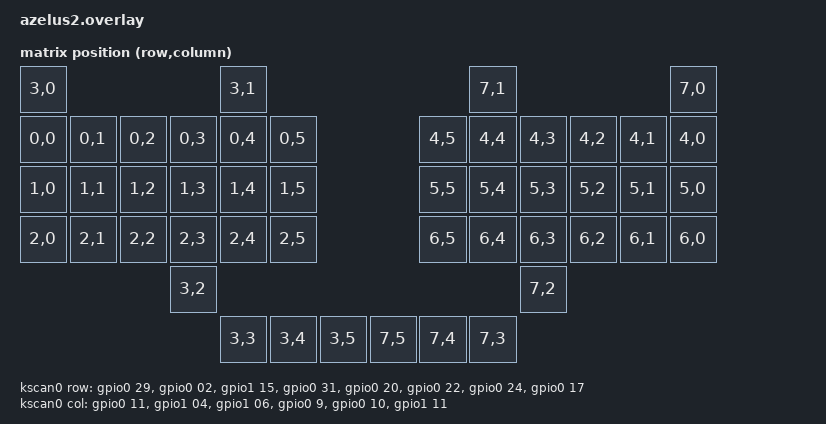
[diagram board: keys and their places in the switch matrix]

#include <dt-bindings/zmk/matrix_transform.h>
#include <physical_layouts.dtsi>

/ {
    chosen {
        zmk,battery = &vbatt;
        zmk,kscan = &kscan0;
        zmk,physical-layout = &physical_layout0;
    };
    
    // "&gpio1 6" means pin P1.06 on the pinout diagram for the nice!nano_v2: https://nicekeyboards.com/docs/nice-nano/pinout-schematic/. 
    // See also  https://zmk.dev/docs/development/new-shield#shield-overlays
    kscan0: kscan {
        compatible = "zmk,kscan-gpio-matrix";
        label = "KSCAN";
                diode-direction = "col2row";
        wakeup-source;
        row-gpios
            // right
            = <&gpio0 29  (GPIO_ACTIVE_HIGH | GPIO_PULL_DOWN)>
            , <&gpio0 02  (GPIO_ACTIVE_HIGH | GPIO_PULL_DOWN)>
            , <&gpio1 15  (GPIO_ACTIVE_HIGH | GPIO_PULL_DOWN)>
            , <&gpio0 31  (GPIO_ACTIVE_HIGH | GPIO_PULL_DOWN)>

            // left
            , <&gpio0 20  (GPIO_ACTIVE_HIGH | GPIO_PULL_DOWN)>
            , <&gpio0 22  (GPIO_ACTIVE_HIGH | GPIO_PULL_DOWN)>
            , <&gpio0 24  (GPIO_ACTIVE_HIGH | GPIO_PULL_DOWN)>
            , <&gpio0 17  (GPIO_ACTIVE_HIGH | GPIO_PULL_DOWN)>
            ;
        col-gpios
            = <&gpio0 11 GPIO_ACTIVE_HIGH>
            , <&gpio1 04 GPIO_ACTIVE_HIGH>
            , <&gpio1 06 GPIO_ACTIVE_HIGH>
            , <&gpio0 9  GPIO_ACTIVE_HIGH>
            , <&gpio0 10 GPIO_ACTIVE_HIGH>
            , <&gpio1 11 GPIO_ACTIVE_HIGH>
            ;
    };

    matrix_transform0: keymap_transform_0  {
        compatible = "zmk,matrix-transform";
        columns = <6>;
        rows = <8>;
        map = <                                                     
                    RC(3,0)                         RC(3,1)                     RC(7,1)                         RC(7,0)
                    RC(0,0) RC(0,1) RC(0,2) RC(0,3) RC(0,4) RC(0,5)     RC(4,5) RC(4,4) RC(4,3) RC(4,2) RC(4,1) RC(4,0)
                    RC(1,0) RC(1,1) RC(1,2) RC(1,3) RC(1,4) RC(1,5)     RC(5,5) RC(5,4) RC(5,3) RC(5,2) RC(5,1) RC(5,0)
                    RC(2,0) RC(2,1) RC(2,2) RC(2,3) RC(2,4) RC(2,5)     RC(6,5) RC(6,4) RC(6,3) RC(6,2) RC(6,1) RC(6,0)
                                    RC(3,2) RC(3,3) RC(3,4) RC(3,5)     RC(7,5) RC(7,4) RC(7,3) RC(7,2)
            >;
    };

    physical_layout0: default_layout {
        compatible = "zmk,physical-layout";
        display-name = "Standard Layout";
        transform = <&matrix_transform0>;
        kscan = <&kscan0>;
        keys =  <&key_physical_attrs 100 100    0    0       0     0     0>
               ,<&key_physical_attrs 100 100  400    0       0     0     0> 
               ,<&key_physical_attrs 100 100  900    0       0     0     0>
               ,<&key_physical_attrs 100 100 1300    0       0     0     0>

               ,<&key_physical_attrs 100 100    0    100     0     0     0>
               ,<&key_physical_attrs 100 100  100    100     0     0     0>
               ,<&key_physical_attrs 100 100  200    100     0     0     0>
               ,<&key_physical_attrs 100 100  300    100     0     0     0>
               ,<&key_physical_attrs 100 100  400    100     0     0     0>
               ,<&key_physical_attrs 100 100  500    100     0     0     0>
               ,<&key_physical_attrs 100 100  800    100     0     0     0>
               ,<&key_physical_attrs 100 100  900    100     0     0     0>
               ,<&key_physical_attrs 100 100 1000    100     0     0     0>
               ,<&key_physical_attrs 100 100 1100    100     0     0     0>
               ,<&key_physical_attrs 100 100 1200    100     0     0     0>
               ,<&key_physical_attrs 100 100 1300    100     0     0     0>

               ,<&key_physical_attrs 100 100    0    200     0     0     0>
               ,<&key_physical_attrs 100 100  100    200     0     0     0>
               ,<&key_physical_attrs 100 100  200    200     0     0     0>
               ,<&key_physical_attrs 100 100  300    200     0     0     0>
               ,<&key_physical_attrs 100 100  400    200     0     0     0>
               ,<&key_physical_attrs 100 100  500    200     0     0     0>
               ,<&key_physical_attrs 100 100  800    200     0     0     0>
               ,<&key_physical_attrs 100 100  900    200     0     0     0>
               ,<&key_physical_attrs 100 100 1000    200     0     0     0>
               ,<&key_physical_attrs 100 100 1100    200     0     0     0>
               ,<&key_physical_attrs 100 100 1200    200     0     0     0>
               ,<&key_physical_attrs 100 100 1300    200     0     0     0>

               ,<&key_physical_attrs 100 100    0    300     0     0     0>
               ,<&key_physical_attrs 100 100  100    300     0     0     0>
               ,<&key_physical_attrs 100 100  200    300     0     0     0>
               ,<&key_physical_attrs 100 100  300    300     0     0     0>
               ,<&key_physical_attrs 100 100  400    300     0     0     0>
               ,<&key_physical_attrs 100 100  500    300     0     0     0>
               ,<&key_physical_attrs 100 100  800    300     0     0     0>
               ,<&key_physical_attrs 100 100  900    300     0     0     0>
               ,<&key_physical_attrs 100 100 1000    300     0     0     0>
               ,<&key_physical_attrs 100 100 1100    300     0     0     0>
               ,<&key_physical_attrs 100 100 1200    300     0     0     0>
               ,<&key_physical_attrs 100 100 1300    300     0     0     0>

               ,<&key_physical_attrs 100 100  300    400     0     0     0>
               ,<&key_physical_attrs 100 100  400    500     0     0     0>
               ,<&key_physical_attrs 100 100  500    500     0     0     0>
               ,<&key_physical_attrs 100 100  600    500     0     0     0>
               ,<&key_physical_attrs 100 100  700    500     0     0     0>
               ,<&key_physical_attrs 100 100  800    500     0     0     0>
               ,<&key_physical_attrs 100 100  900    500     0     0     0>
               ,<&key_physical_attrs 100 100 1000    400     0     0     0>
            ;
    };

    position_map {
        compatible = "zmk,physical-layout-position-map";
        complete;
        layout1: layout1 {
            physical-layout = <&physical_layout0>;
            positions = < 0           1              2           3>
                       ,< 4  5  6  7  8  9       10 11 12 13 14 15>
                       ,<16 17 18 19 20 21       22 23 24 25 26 27>
                       ,<28 29 30 31 32 33       34 35 36 37 38 39>
                       ,<         40                   41         >
                       ,<            42 43 44 45 46 47            >
            ;
        };
    };

    ext-power {
        compatible = "zmk,ext-power-generic";
        label = "EXT_POWER";
        control-gpios = <&gpio0 13 GPIO_ACTIVE_HIGH>;
        init-delay-ms = <50>;
    };

    vbatt: vbatt {
        compatible = "zmk,battery-nrf-vddh";
        label = "BATTERY";
    };
};

